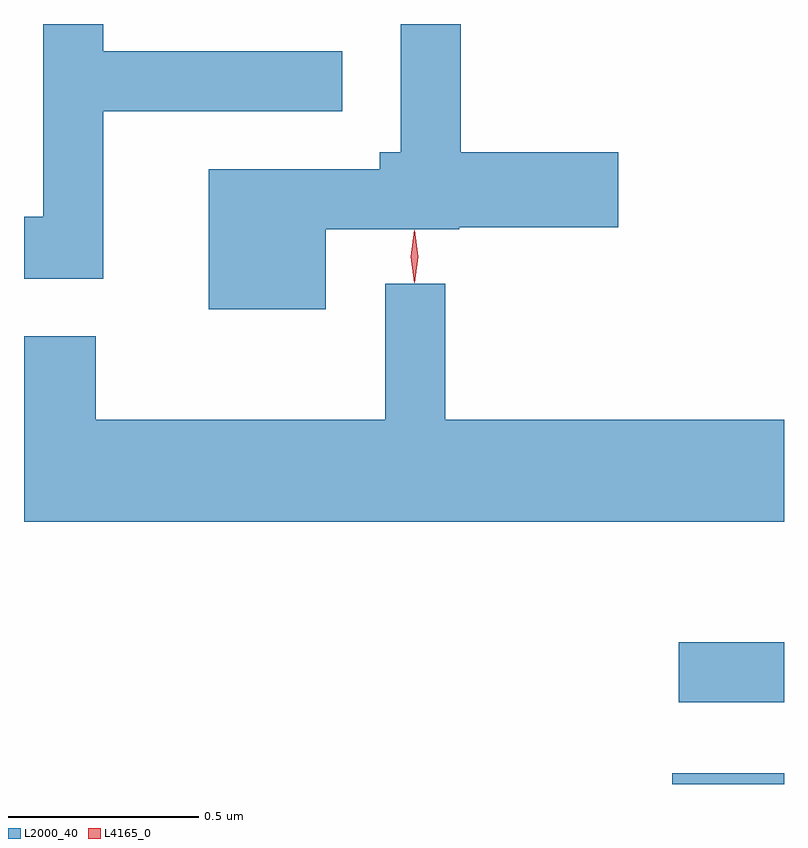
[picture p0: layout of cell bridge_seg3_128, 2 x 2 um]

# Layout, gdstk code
import gdstk
lib = gdstk.Library(unit=1e-6, precision=1e-09)
def R(c, l, rs):  # rectangles x0, y0, x1, y1
    for r in rs: c.add(gdstk.rectangle(r[:2], r[2:], *l))
def P(c, l, *ps):  # polygons
    for p in ps: c.add(gdstk.Polygon(p, *l))
L2000_40 = (2000, 40)
L4165_0 = (4165, 0)

bridge_seg3_128 = lib.new_cell('bridge_seg3_128')
R(bridge_seg3_128, L2000_40, [(725.896,1196.366,726.19,1196.394), (725.913,1196.581,726.19,1196.739)])
P(bridge_seg3_128, L2000_40, [(724.984,1197.826),(725.335,1197.826),(725.335,1197.831),(725.754,1197.831),(725.754,1198.029),(725.339,1198.029),(725.339,1198.366),(725.181,1198.366),(725.181,1198.029),(725.126,1198.029),(725.126,1197.984),(724.676,1197.984),(724.676,1197.616),(724.984,1197.616)],
  [(724.399,1198.136),(725.028,1198.136),(725.028,1198.294),(724.399,1198.294),(724.399,1198.366),(724.241,1198.366),(724.241,1197.859),(724.19,1197.859),(724.19,1197.696),(724.399,1197.696)],
  [(726.19,1197.324),(725.299,1197.324),(725.299,1197.683),(725.141,1197.683),(725.141,1197.324),(724.379,1197.324),(724.379,1197.544),(724.19,1197.544),(724.19,1197.056),(726.19,1197.056)])
P(bridge_seg3_128, L4165_0, [(725.217,1197.685),(725.208,1197.754),(725.217,1197.823),(725.218,1197.823),(725.218,1197.823),(725.228,1197.754),(725.218,1197.685),(725.218,1197.685)],
  [(725.218,1197.688),(725.217,1197.689),(725.208,1197.754),(725.217,1197.82),(725.218,1197.821),(725.218,1197.82),(725.228,1197.754),(725.218,1197.689)])

lib.write_gds('bridge_seg3_128.gds')
